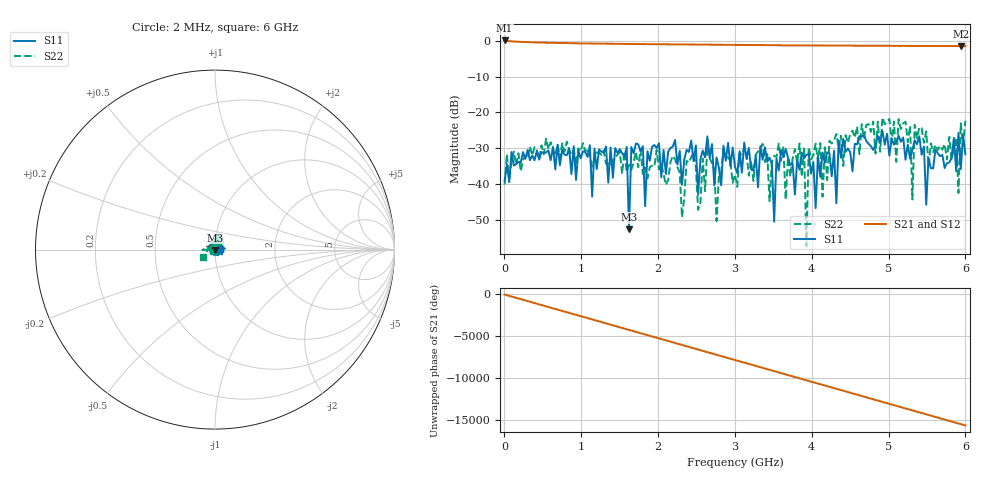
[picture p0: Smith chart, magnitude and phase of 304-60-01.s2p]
!Agilent N9923A: A.07.32
!Date: Monday, 11 January 2016 22:34:04
!Model: N9923A
!Serial: MY52412257
!GPS Latitude:
!GPS Longitude:
!GPS TimeStamp: 0001-01-01 00:00:00Z
!GPS Seconds Since Last Read: 0
!CHECKSUM:2099238837
!Correction: S11(ON Q)S21(ON Q)S12(ON Q)S22(ON Q)
!S2P File: Measurements:S11,S21,S12,S22:
# Hz S DB R 50
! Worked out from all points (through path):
!   201 points, 2 MHz to 6 GHz, reference 50 ohm
!   highest |S21| = 0.05 dB at 2 MHz (marker M1); lowest = -1.6 dB at 5.94 GHz (marker M2)
!   lowest |S11| = -52.5 dB at 1.621 GHz (marker M3), VSWR 1.00, Z = 50.2 - j0.143 ohm
!   |S11| at or under -10 dB: start of sweep to end of sweep
!   |S22| runs from -57.2 to -21.4 dB; largest |S21 - S12| = 0.036
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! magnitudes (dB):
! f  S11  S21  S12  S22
! 2 MHz  -39.0  0.0  0.0  -40.1
! 1.022 GHz  -30.8  -0.8  -0.8  -28.5
! 1.591 GHz  -29.6  -0.9  -0.9  -36.5
! 1.621 GHz  -52.5  -0.9  -0.9  -34.6
! 1.651 GHz  -29.6  -0.9  -1.0  -36.0
! 1.831 GHz  -46.1  -1.0  -1.0  -35.3
! 2.011 GHz  -28.6  -1.0  -1.0  -35.9
! 3.001 GHz  -35.1  -1.2  -1.2  -37.2
! 3.391 GHz  -29.7  -1.3  -1.3  -33.8
! 3.511 GHz  -50.4  -1.3  -1.3  -32.1
! 3.901 GHz  -32.7  -1.3  -1.4  -29.8
! 3.931 GHz  -31.8  -1.3  -1.4  -57.2
! 3.961 GHz  -31.5  -1.3  -1.4  -29.7
! 4.021 GHz  -33.8  -1.3  -1.4  -31.9
! 5.01 GHz  -32.0  -1.5  -1.5  -21.8
! 5.28 GHz  -32.9  -1.5  -1.5  -23.7
! 5.31 GHz  -30.5  -1.5  -1.5  -44.2
! 5.34 GHz  -27.7  -1.5  -1.5  -23.4
! 5.49 GHz  -45.7  -1.5  -1.5  -25.3
! 5.91 GHz  -25.7  -1.5  -1.5  -42.4
! 5.94 GHz  -35.8  -1.6  -1.6  -23.0
! 6 GHz  -31.6  -1.5  -1.5  -22.3
